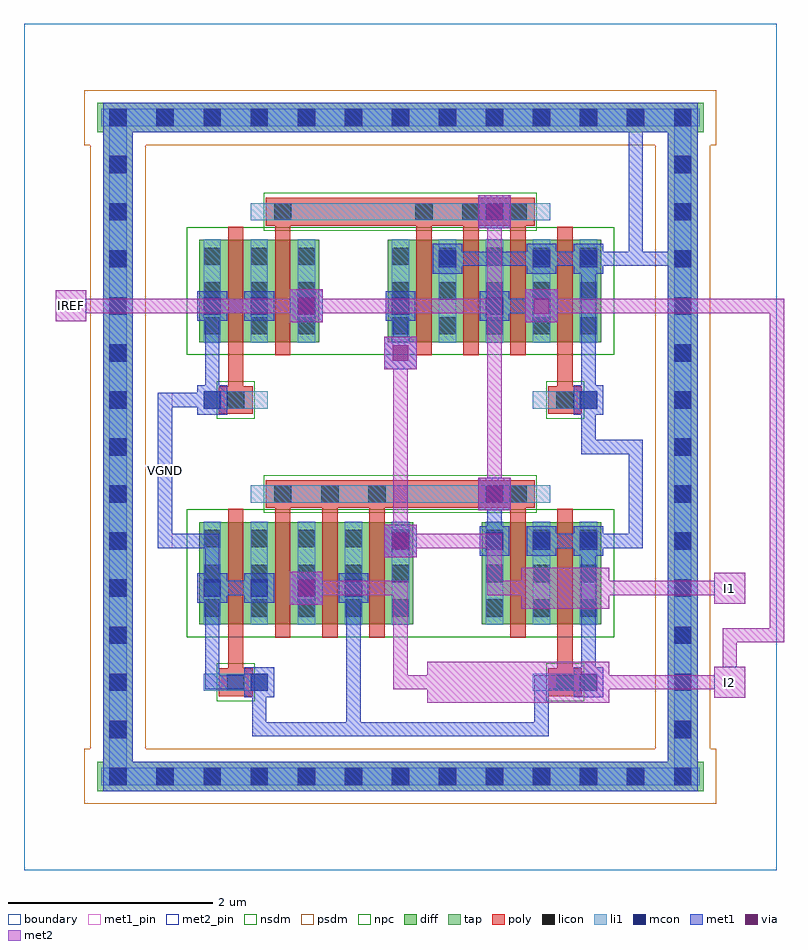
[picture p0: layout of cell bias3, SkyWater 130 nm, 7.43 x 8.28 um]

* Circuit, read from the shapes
.subckt bias3 I1 I2 IREF VGND
XM1 VGND VGND VGND VGND sky130_fd_pr__nfet_01v8 w=1 l=0.15 m=4
XM2 I2 IREF VGND VGND sky130_fd_pr__nfet_01v8 w=1 l=0.15 m=4
XM3 IREF IREF VGND VGND sky130_fd_pr__nfet_01v8 w=1 l=0.15 m=2
XM4 I1 IREF VGND VGND sky130_fd_pr__nfet_01v8 w=1 l=0.15 m=2
.ends

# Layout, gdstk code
import gdstk
lib = gdstk.Library(unit=1e-6, precision=1e-09)
def R(c, l, rs):  # rectangles x0, y0, x1, y1
    for r in rs: c.add(gdstk.rectangle(r[:2], r[2:], *l))
def A(c, l, x, y, w, h, nx, ny, dx, dy):  # array of equal rectangles
    R(c, l, [(x+i*dx, y+j*dy, x+i*dx+w, y+j*dy+h) for i in range(nx) for j in range(ny)])
diff = (65, 20)
tap = (65, 44)
poly = (66, 20)
licon = (66, 44)
li1 = (67, 20)
mcon = (67, 44)
met1_pin = (68, 16)
met1 = (68, 20)
via = (68, 44)
met2_pin = (69, 16)
met2 = (69, 20)
nsdm = (93, 44)
psdm = (94, 20)
npc = (95, 20)
boundary = (235, 4)

bias3 = lib.new_cell('bias3')
R(bias3, diff, [(1.715,2.405,3.805,3.405), (4.475,2.405,5.645,3.405), (1.715,5.165,2.885,6.165), (3.555,5.165,5.645,6.165)])
R(bias3, tap, [(0.715,0.775,6.645,1.065), (0.775,0.775,1.065,7.505), (6.295,0.775,6.585,7.505), (0.715,7.215,6.645,7.505)])
A(bias3, poly, 2.455, 2.275, 0.15, 1.405, 3, 1, 0.46, 0)
A(bias3, poly, 3.835, 5.035, 0.15, 1.405, 3, 1, 0.46, 0)
R(bias3, poly, [(1.905,1.705,2.235,1.975), (5.125,1.705,5.455,1.975), (1.995,1.84,2.145,3.535), (5.215,1.84,5.365,3.535), (4.755,2.275,4.905,3.68), (2.365,3.545,4.995,3.815), (1.905,4.465,2.235,4.735), (5.125,4.465,5.455,4.735), (1.995,4.6,2.145,6.295), (5.215,4.6,5.365,6.295), (2.455,5.035,2.605,6.44), (2.365,6.305,4.995,6.575)])
A(bias3, licon, 0.835, 0.835, 0.17, 0.17, 13, 2, 0.46, 6.44)
A(bias3, licon, 0.835, 1.295, 0.17, 0.17, 1, 13, 0, 0.46)
A(bias3, licon, 6.355, 1.295, 0.17, 0.17, 1, 13, 0, 0.46)
A(bias3, licon, 1.755, 2.48, 0.17, 0.17, 5, 3, 0.46, 0.34)
A(bias3, licon, 4.515, 2.48, 0.17, 0.17, 3, 3, 0.46, 0.34)
A(bias3, licon, 2.445, 3.595, 0.17, 0.17, 3, 1, 0.46, 0)
A(bias3, licon, 1.755, 5.24, 0.17, 0.17, 3, 3, 0.46, 0.34)
A(bias3, licon, 3.595, 5.24, 0.17, 0.17, 5, 3, 0.46, 0.34)
A(bias3, licon, 3.825, 6.355, 0.17, 0.17, 3, 1, 0.46, 0)
R(bias3, licon, [(1.985,1.755,2.155,1.925), (5.205,1.755,5.375,1.925), (4.745,3.595,4.915,3.765), (1.985,4.515,2.155,4.685), (5.205,4.515,5.375,4.685), (2.445,6.355,2.615,6.525)])
A(bias3, li1, 1.755, 2.4, 0.17, 1.01, 5, 1, 0.46, 0)
A(bias3, li1, 4.515, 2.4, 0.17, 1.01, 3, 1, 0.46, 0)
A(bias3, li1, 1.755, 5.16, 0.17, 1.01, 3, 1, 0.46, 0)
A(bias3, li1, 3.595, 5.16, 0.17, 1.01, 5, 1, 0.46, 0)
R(bias3, li1, [(0.755,0.835,6.605,1.005), (0.835,0.835,1.005,7.445), (6.355,0.835,6.525,7.445), (1.755,1.755,2.385,1.925), (4.975,1.755,5.605,1.925), (2.215,3.595,5.145,3.765), (1.755,4.515,2.385,4.685), (4.975,4.515,5.605,4.685), (2.215,6.355,5.145,6.525), (0.755,7.275,6.605,7.445)])
A(bias3, mcon, 0.835, 0.835, 0.17, 0.17, 13, 2, 0.46, 6.44)
A(bias3, mcon, 0.835, 1.295, 0.17, 0.17, 1, 13, 0, 0.46)
A(bias3, mcon, 6.355, 1.295, 0.17, 0.17, 1, 13, 0, 0.46)
A(bias3, mcon, 1.755, 2.675, 0.17, 0.17, 4, 1, 0.46, 0)
A(bias3, mcon, 4.515, 3.135, 0.17, 0.17, 3, 1, 0.46, 0)
A(bias3, mcon, 1.755, 5.435, 0.17, 0.17, 3, 1, 0.46, 0)
R(bias3, mcon, [(2.215,1.755,2.385,1.925), (5.435,1.755,5.605,1.925), (3.595,3.135,3.765,3.305), (4.515,3.595,4.685,3.765), (1.755,4.515,1.925,4.685), (5.435,4.515,5.605,4.685), (3.595,5.435,3.765,5.605), (4.515,5.435,4.685,5.605), (4.055,5.895,4.225,6.065), (4.975,5.895,5.145,6.065), (5.435,5.895,5.605,6.065), (4.515,6.355,4.685,6.525)])
R(bias3, met1_pin, [(1.31,3.15,1.45,4.67)])
A(bias3, met1, 1.695, 2.615, 0.29, 0.29, 4, 1, 0.46, 0)
A(bias3, met1, 4.455, 3.075, 0.29, 0.29, 3, 1, 0.46, 0)
A(bias3, met1, 1.695, 5.375, 0.29, 0.29, 3, 1, 0.46, 0)
R(bias3, met1, [(0.775,0.775,6.585,1.065), (0.775,0.775,1.065,7.505), (6.295,0.775,6.585,7.505), (2.23,1.31,2.37,1.91), (2.23,1.31,5.13,1.45), (3.15,1.31,3.29,2.83), (4.99,1.31,5.13,1.91), (2.155,1.695,2.445,1.985), (5.375,1.695,5.665,1.985), (1.77,1.77,2.37,1.91), (1.77,1.77,1.91,2.83), (4.99,1.77,5.59,1.91), (5.45,1.77,5.59,3.29), (2.6,2.6,2.92,2.92), (1.77,2.69,1.91,3.29), (1.77,2.69,2.37,2.83), (3.52,3.06,3.84,3.38), (3.535,3.075,3.825,3.365), (1.31,3.15,1.91,3.29), (1.31,3.15,1.45,4.67), (4.53,3.15,4.67,3.75), (4.99,3.15,5.59,3.29), (5.45,3.15,6.05,3.29), (5.91,3.15,6.05,4.21), (4.44,3.52,4.76,3.84), (4.455,3.535,4.745,3.825), (5.45,4.07,5.59,4.67), (5.45,4.07,6.05,4.21), (1.695,4.455,1.985,4.745), (5.375,4.455,5.665,4.745), (1.31,4.53,1.91,4.67), (1.77,4.53,1.91,5.59), (5.45,4.53,5.59,6.05), (3.52,4.9,3.84,5.22), (3.61,4.99,3.75,5.59), (2.6,5.36,2.92,5.68), (4.9,5.36,5.22,5.68), (3.535,5.375,3.825,5.665), (4.455,5.375,4.745,5.665), (1.77,5.45,2.37,5.59), (4.53,5.45,5.13,5.59), (3.995,5.835,4.285,6.125), (4.915,5.835,5.205,6.125), (5.375,5.835,5.665,6.125), (4.07,5.91,5.13,6.05), (4.99,5.91,5.59,6.05), (5.45,5.91,6.51,6.05), (5.91,5.91,6.05,7.43), (6.37,5.91,6.51,6.05), (4.44,6.28,4.76,6.6), (4.455,6.295,4.745,6.585), (0.775,7.215,6.585,7.505), (5.91,7.29,6.05,7.43)])
R(bias3, via, [(2.685,2.685,2.835,2.835), (3.605,3.145,3.755,3.295), (4.525,3.605,4.675,3.755), (3.605,4.985,3.755,5.135), (2.685,5.445,2.835,5.595), (4.985,5.445,5.135,5.595), (4.525,6.365,4.675,6.515)])
R(bias3, met2_pin, [(6.75,1.69,7.05,1.99), (6.75,2.61,7.05,2.91), (0.31,5.37,0.61,5.67)])
R(bias3, met2, [(3.94,1.64,5.72,2.04), (6.75,1.69,7.05,1.99), (3.61,1.77,4.21,1.91), (3.61,1.77,3.75,2.83), (5.45,1.77,6.97,1.91), (6.83,1.77,6.97,1.91), (6.83,1.77,6.97,2.37), (6.83,2.23,7.43,2.37), (7.29,2.23,7.43,5.59), (4.86,2.56,5.72,2.96), (2.6,2.6,2.92,2.92), (6.75,2.61,7.05,2.91), (2.69,2.69,3.75,2.83), (4.53,2.69,4.67,3.29), (4.53,2.69,5.13,2.83), (5.45,2.69,6.97,2.83), (6.83,2.69,6.97,2.83), (3.52,3.06,3.84,3.38), (3.61,3.15,3.75,5.13), (3.61,3.15,4.67,3.29), (4.44,3.52,4.76,3.84), (4.53,3.61,4.67,6.51), (3.52,4.9,3.84,5.22), (2.6,5.36,2.92,5.68), (4.9,5.36,5.22,5.68), (0.31,5.37,0.61,5.67), (0.39,5.45,0.53,5.59), (0.39,5.45,2.83,5.59), (2.69,5.45,4.67,5.59), (4.99,5.45,7.43,5.59), (4.44,6.28,4.76,6.6)])
R(bias3, nsdm, [(1.59,2.28,5.77,3.53), (1.59,5.04,5.77,6.29)])
R(bias3, psdm, [(0.59,0.65,6.77,1.19), (0.65,1.19,1.19,7.09), (6.17,1.19,6.71,7.09), (0.59,7.09,6.77,7.63)])
R(bias3, npc, [(1.885,1.655,2.255,2.025), (5.105,1.655,5.475,2.025), (2.345,3.495,5.015,3.865), (1.885,4.415,2.255,4.785), (5.105,4.415,5.475,4.785), (2.345,6.255,5.015,6.625)])
R(bias3, boundary, [(0,0,7.36,8.28)])
bias3.add(gdstk.Label('VGND', (1.38,3.91), layer=68, texttype=5))
bias3.add(gdstk.Label('IREF', (0.46,5.52), layer=69, texttype=5))
bias3.add(gdstk.Label('I1', (6.9,2.76), layer=69, texttype=5))
bias3.add(gdstk.Label('I2', (6.9,1.84), layer=69, texttype=5))
bias3.add(gdstk.Label('VGND', (1.38,3.91), layer=68, texttype=16))
bias3.add(gdstk.Label('IREF', (0.46,5.52), layer=69, texttype=16))
bias3.add(gdstk.Label('I1', (6.9,2.76), layer=69, texttype=16))
bias3.add(gdstk.Label('I2', (6.9,1.84), layer=69, texttype=16))

lib.write_gds('bias3.gds')
